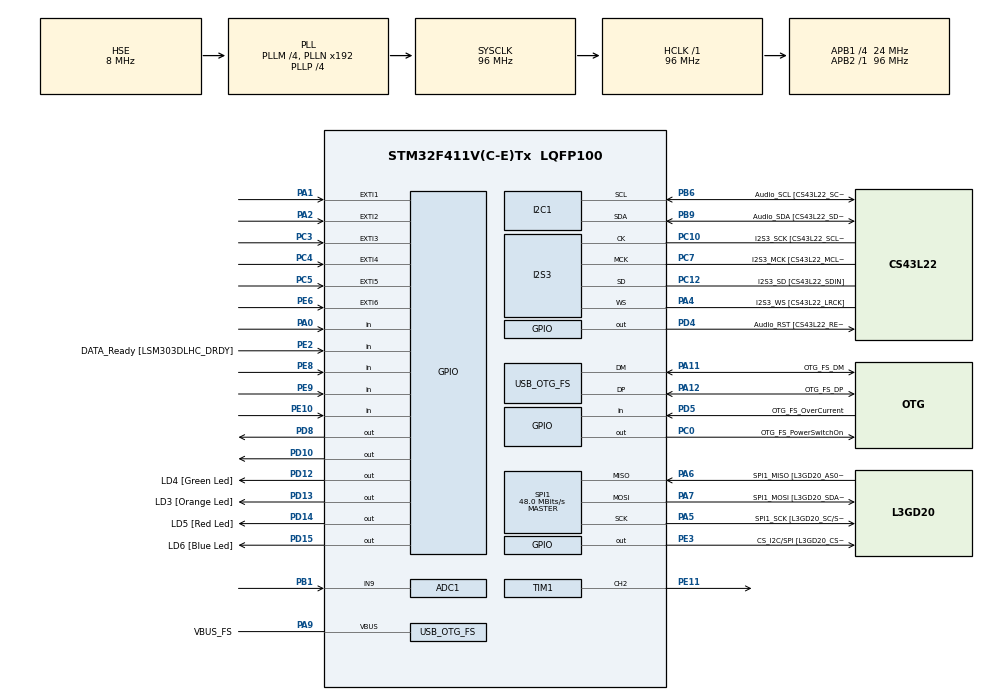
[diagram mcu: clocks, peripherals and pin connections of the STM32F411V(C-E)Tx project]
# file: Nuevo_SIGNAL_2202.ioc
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ADC1.Channel-0\#ChannelRegularConversion=ADC_CHANNEL_9
ADC1.ContinuousConvMode=ENABLE
ADC1.EOCSelection=ADC_EOC_SEQ_CONV
ADC1.NbrOfConversion=1
ADC1.NbrOfConversionFlag=1
ADC1.Rank-0\#ChannelRegularConversion=1
ADC1.Resolution=ADC_RESOLUTION_8B
ADC1.SamplingTime-0\#ChannelRegularConversion=ADC_SAMPLETIME_3CYCLES
ADC1.ScanConvMode=DISABLE
ADC1.master=1
I2S3.AudioFreq=I2S_AUDIOFREQ_96K
I2S3.ErrorAudioFreq=-6.99 %
I2S3.FullDuplexMode=I2S_FULLDUPLEXMODE_DISABLE
I2S3.Instance=SPI$Index
I2S3.RealAudioFreq=89.285 KHz
I2S3.VirtualMode=I2S_MODE_MASTER
Mcu.Family=STM32F4
Mcu.Name=STM32F411V(C-E)Tx
Mcu.Package=LQFP100
NVIC.ADC_IRQn=true\:0\:0\:false\:false\:true\:true\:true
NVIC.EXTI1_IRQn=true\:0\:0\:false\:false\:true\:true\:true
NVIC.EXTI2_IRQn=true\:0\:0\:false\:false\:true\:true\:true
NVIC.EXTI3_IRQn=true\:0\:0\:false\:false\:true\:true\:true
NVIC.EXTI4_IRQn=true\:0\:0\:false\:false\:true\:true\:true
NVIC.EXTI9_5_IRQn=true\:0\:0\:false\:false\:true\:true\:true
NVIC.OTG_FS_IRQn=true\:0\:0\:false\:false\:true\:true\:true
NVIC.PriorityGroup=NVIC_PRIORITYGROUP_0
PA0-WKUP.Signal=GPIO_Input
PA1.GPIO_ModeDefaultEXTI=GPIO_MODE_IT_RISING_FALLING
PA1.GPIO_PuPd=GPIO_PULLDOWN
PA1.Signal=GPXTI1
PA10.GPIO_Label=OTG_FS_ID
PA10.Signal=USB_OTG_FS_ID
PA11.GPIO_Label=OTG_FS_DM
PA11.Mode=Host_Only
PA11.Signal=USB_OTG_FS_DM
PA12.GPIO_Label=OTG_FS_DP
PA12.Mode=Host_Only
PA12.Signal=USB_OTG_FS_DP
PA13.GPIO_Label=SWDIO
PA13.Mode=Serial_Wire
PA13.Signal=SYS_JTMS-SWDIO
PA14.GPIO_Label=SWCLK
PA14.Mode=Serial_Wire
PA14.Signal=SYS_JTCK-SWCLK
PA2.GPIO_PuPd=GPIO_PULLDOWN
PA2.Signal=GPXTI2
PA4.GPIO_Label=I2S3_WS [CS43L22_LRCK]
PA4.GPIO_Mode=GPIO_MODE_AF_PP
PA4.GPIO_PuPd=GPIO_NOPULL
PA4.GPIO_Speed=GPIO_SPEED_FREQ_LOW
PA4.Mode=Half_Duplex_Master
PA4.Signal=I2S3_WS
PA5.GPIO_Label=SPI1_SCK [L3GD20_SC/SPC]
PA5.Mode=Full_Duplex_Master
PA5.Signal=SPI1_SCK
PA6.GPIO_Label=SPI1_MISO [L3GD20_AS0/SDO]
PA6.Mode=Full_Duplex_Master
PA6.Signal=SPI1_MISO
PA7.GPIO_Label=SPI1_MOSI [L3GD20_SDA/SDI/SDO]
PA7.Mode=Full_Duplex_Master
PA7.Signal=SPI1_MOSI
PA9.GPIO_Label=VBUS_FS
PA9.Mode=Activate_VBUS
PA9.Signal=USB_OTG_FS_VBUS
PB0.Signal=TIM1_CH2N
PB1.Signal=ADCx_IN9
PB10.GPIO_Label=CLK_IN [MP45DT02_CLK]
PB10.Signal=I2S2_CK
PB12.Signal=I2S2_WS
PB3.GPIO_Label=SWO
PB3.Signal=SYS_JTDO-SWO
PB6.GPIO_Label=Audio_SCL [CS43L22_SCL]
PB6.GPIO_Mode=GPIO_MODE_AF_OD
PB6.GPIO_PuPd=GPIO_NOPULL
PB6.GPIO_Speed=GPIO_SPEED_FREQ_LOW
PB6.Mode=I2C
PB6.Signal=I2C1_SCL
PB9.GPIO_Label=Audio_SDA [CS43L22_SDA]
PB9.GPIO_Mode=GPIO_MODE_AF_OD
PB9.GPIO_PuPd=GPIO_NOPULL
PB9.GPIO_Speed=GPIO_SPEED_FREQ_LOW
PB9.Mode=I2C
PB9.Signal=I2C1_SDA
PC0.GPIO_Label=OTG_FS_PowerSwitchOn
PC0.PinState=GPIO_PIN_SET
PC0.Signal=GPIO_Output
PC10.GPIO_Label=I2S3_SCK [CS43L22_SCLK]
PC10.GPIO_Mode=GPIO_MODE_AF_PP
PC10.GPIO_PuPd=GPIO_NOPULL
PC10.GPIO_Speed=GPIO_SPEED_FREQ_LOW
PC10.Mode=Half_Duplex_Master
PC10.Signal=I2S3_CK
PC12.GPIO_Label=I2S3_SD [CS43L22_SDIN]
PC12.GPIO_Mode=GPIO_MODE_AF_PP
PC12.GPIO_PuPd=GPIO_NOPULL
PC12.GPIO_Speed=GPIO_SPEED_FREQ_LOW
PC12.Mode=Half_Duplex_Master
PC12.Signal=I2S3_SD
PC14-OSC32_IN.GPIO_Label=PC14-OSC32_IN
PC14-OSC32_IN.Mode=LSE-External-Oscillator
PC14-OSC32_IN.Signal=RCC_OSC32_IN
PC15-OSC32_OUT.GPIO_Label=PC15-OSC32_OUT
PC15-OSC32_OUT.Mode=LSE-External-Oscillator
PC15-OSC32_OUT.Signal=RCC_OSC32_OUT
PC3.GPIO_PuPd=GPIO_PULLDOWN
PC3.Signal=GPXTI3
PC4.GPIO_PuPd=GPIO_PULLDOWN
PC4.Signal=GPXTI4
PC5.GPIO_PuPd=GPIO_PULLDOWN
PC5.Signal=GPXTI5
PC7.GPIO_Label=I2S3_MCK [CS43L22_MCLK]
PC7.GPIO_Mode=GPIO_MODE_AF_PP
PC7.GPIO_PuPd=GPIO_NOPULL
PC7.GPIO_Speed=GPIO_SPEED_FREQ_LOW
PC7.Mode=Master_Clock_Activated
PC7.Signal=I2S3_MCK
PD10.Signal=GPIO_Output
PD12.GPIO_Label=LD4 [Green Led]
PD12.GPIO_PuPd=GPIO_NOPULL
PD12.GPIO_Speed=GPIO_SPEED_FREQ_LOW
PD12.Signal=GPIO_Output
PD13.GPIO_Label=LD3 [Orange Led]
PD13.GPIO_PuPd=GPIO_NOPULL
PD13.GPIO_Speed=GPIO_SPEED_FREQ_LOW
PD13.Signal=GPIO_Output
PD14.GPIO_Label=LD5 [Red Led]
PD14.GPIO_PuPd=GPIO_NOPULL
PD14.GPIO_Speed=GPIO_SPEED_FREQ_LOW
PD14.Signal=GPIO_Output
PD15.GPIO_Label=LD6 [Blue Led]
PD15.GPIO_PuPd=GPIO_NOPULL
PD15.GPIO_Speed=GPIO_SPEED_FREQ_LOW
PD15.Signal=GPIO_Output
PD4.GPIO_Label=Audio_RST [CS43L22_RESET]
PD4.Signal=GPIO_Output
PD5.GPIO_Label=OTG_FS_OverCurrent
PD5.Signal=GPIO_Input
PD8.Signal=GPIO_Output
PE10.GPIO_PuPd=GPIO_PULLDOWN
PE10.Signal=GPIO_Input
PE11.Signal=S_TIM1_CH2
PE2.GPIO_Label=DATA_Ready [LSM303DLHC_DRDY]
PE2.Signal=GPIO_Input
PE3.GPIO_Label=CS_I2C/SPI [L3GD20_CS_I2C/SPI]
PE3.Signal=GPIO_Output
PE6.GPIO_PuPd=GPIO_PULLDOWN
PE6.Signal=GPXTI6
PE8.GPIO_PuPd=GPIO_PULLDOWN
PE8.Signal=GPIO_Input
PE9.GPIO_PuPd=GPIO_PULLDOWN
PE9.Signal=GPIO_Input
PH0\ -\ OSC_IN.GPIO_Label=PH0-OSC_IN
PH0\ -\ OSC_IN.Mode=HSE-External-Clock-Source
PH0\ -\ OSC_IN.Signal=RCC_OSC_IN
PH1\ -\ OSC_OUT.GPIO_Label=PH1-OSC_OUT
PH1\ -\ OSC_OUT.Mode=HSE-External-Clock-Source
PH1\ -\ OSC_OUT.Signal=RCC_OSC_OUT
ProjectManager.HeapSize=0x200
ProjectManager.StackSize=0x400
ProjectManager.TargetToolchain=MDK-ARM V5.27
RCC.48MHZClocksFreq_Value=48000000
RCC.AHBFreq_Value=96000000
RCC.APB1CLKDivider=RCC_HCLK_DIV4
RCC.APB1Freq_Value=24000000
RCC.APB1TimFreq_Value=48000000
RCC.APB2Freq_Value=96000000
RCC.APB2TimFreq_Value=96000000
RCC.CortexFreq_Value=96000000
RCC.HCLKFreq_Value=96000000
RCC.HSE_VALUE=8000000
RCC.HSI_VALUE=16000000
RCC.PLLI2SM=5
RCC.PLLI2SN=200
RCC.PLLM=4
RCC.PLLP=RCC_PLLP_DIV4
RCC.PLLQ=8
RCC.SYSCLKFreq_VALUE=96000000
RCC.SYSCLKSource=RCC_SYSCLKSOURCE_PLLCLK
RCC.VCOOutputFreq_Value=384000000
SH.ADCx_IN9.0=ADC1_IN9,IN9
SH.S_TIM1_CH2.0=TIM1_CH2,PWM Generation2 CH2
SPI1.BaudRatePrescaler=SPI_BAUDRATEPRESCALER_2
SPI1.CalculateBaudRate=48.0 MBits/s
SPI1.Direction=SPI_DIRECTION_2LINES
SPI1.Mode=SPI_MODE_MASTER
SPI1.VirtualType=VM_MASTER
TIM1.Channel-PWM\ Generation2\ CH2=TIM_CHANNEL_2
TIM1.Period=199
TIM1.Prescaler=47
USB_HOST.BSP.number=1
USB_HOST.USBH_HandleTypeDef=hUsbHostFS
USB_HOST.VirtualModeFS=Cdc
USB_HOST0.BSP.STBoard=false
USB_HOST0.BSP.api=Unknown
USB_HOST0.BSP.i2caddr=0
USB_HOST0.BSP.i2creg=0
USB_HOST0.BSP.instance=PC0
USB_HOST0.BSP.ip=GPIO
USB_HOST0.BSP.mode=Output
USB_HOST0.BSP.name=Drive_VBUS_FS
USB_HOST0.BSP.solution=PC0
USB_OTG_FS.VirtualMode=Host_Only
USB_OTG_FS.phy_itface=HCD_PHY_EMBEDDED
VP_USB_HOST_VS_USB_HOST_CDC_FS.Mode=CDC_FS
board=STM32F411E-DISCO

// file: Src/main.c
/* USER CODE BEGIN Header */
/**
  ******************************************************************************
  * @file           : main.c
  * @brief          : Main program body
  ******************************************************************************
  * @attention
  *
  * <h2><center>&copy; Copyright (c) 2020 STMicroelectronics.
  * All rights reserved.</center></h2>
  *
  * This software component is licensed by ST under Ultimate Liberty license
  * SLA0044, the "License"; You may not use this file except in compliance with
  * the License. You may obtain a copy of the License at:
  *                             www.st.com/SLA0044
  *
  ******************************************************************************
  */
/* USER CODE END Header */

#include "main.h"
#include "usb_host.h"

/* USER CODE BEGIN PTD */
typedef struct{
	int Derecha;
	int Izquierda;
	int Vel;
}Accion;
/* USER CODE END PTD */

/* USER CODE BEGIN PD */
#define Nbanderas 10

void ModoManual( int *EtapasManual, int Flags[],Accion*accion);
void ModoAutomatico( int *EtapasAutomatico, int Flags[],Accion*accion, int valor);
void GMM(int*GMM_Etapas, int*EtapasManual,int*EtapasAutomatico, int Flags[], int MaxBanderas, uint32_t* T_Alarm);
void Marcha(int GMM_Etapas, Accion Automatico, Accion Manual);
//void Marcha(int EtapasManual, int EtapasAutomático
/* USER CODE END PD */

ADC_HandleTypeDef hadc1;

I2C_HandleTypeDef hi2c1;

I2S_HandleTypeDef hi2s3;

SPI_HandleTypeDef hspi1;

TIM_HandleTypeDef htim1;

//ADC_HandleTypeDef hadc1;

void SystemClock_Config(void);
static void MX_GPIO_Init(void);
static void MX_I2C1_Init(void);
static void MX_I2S3_Init(void);
static void MX_SPI1_Init(void);
static void MX_TIM1_Init(void);
static void MX_ADC1_Init(void);
void MX_USB_HOST_Process(void);

/* USER CODE BEGIN 0 */

uint32_t EntradaAnalogica;

int EtapasAuto=0;
int EtapasMan=0;
int EtapasGMM=0;
int Bandera[10];
Accion ManualAct,AutomaticAct={0,0,150};
uint32_t Alarma;

/*
Banderas:
0-> Cambio Auto/Man
1-> Pulsador 1
2-> Pulsador 2
3-> Pulsador 3
4-> Pulsador 4
5-> Pulsador 5
*/

//////// CALLBACKS ////////////

void HAL_GPIO_EXTI_Callback(uint16_t GPIO_Pin){

	if(GPIO_Pin==GPIO_PIN_1){
		//selector auto/manual-> PA1

		Bandera[0]=1; //Hay cambio auto/man

	}else if(GPIO_Pin==GPIO_PIN_2){
		//selector Pulsador1-> PA2
		Bandera[1]=1;

	}else if(GPIO_Pin==GPIO_PIN_3){
		//selector Pulsador2-> PC3
		Bandera[2]=1;

	}else if(GPIO_Pin==GPIO_PIN_4){
		//selector Pulsador3-> PC4
		Bandera[3]=1;

	}else if(GPIO_Pin==GPIO_PIN_5){
		//selector Pulsador4-> PC5
		Bandera[4]=1;

	}else if(GPIO_Pin==GPIO_PIN_6){
		//selector Pulsador5-> PE6
		Bandera[5]=1;
	}else{
			HAL_GPIO_TogglePin(GPIOD, GPIO_PIN_13);
	}
}

void HAL_ADC_ConvCpltCallback(ADC_HandleTypeDef* hadc)
{
	if(hadc->Instance==ADC1){
		EntradaAnalogica= HAL_ADC_GetValue(&hadc1);
	}
}
/* USER CODE END 0 */

////////    MAIN    ////////////
int main(void)
{

  /* MCU Configuration--------------------------------------------------------*/

  /* Reset of all peripherals, Initializes the Flash interface and the Systick. */
  HAL_Init();
  /* Configure the system clock */
  SystemClock_Config();
  /* Initialize all configured peripherals */
  MX_GPIO_Init();
  MX_I2C1_Init();
  MX_I2S3_Init();
  MX_SPI1_Init();
  MX_TIM1_Init();
  MX_USB_HOST_Init();
  MX_ADC1_Init();

  /* USER CODE BEGIN 2 */

	/* Inicializamos la lectura de la entrada analógica */
	HAL_ADC_Start_IT(&hadc1);
	/* Inicializamos y damos el valor por defecto a la salida PWM */
	HAL_TIM_PWM_Start(&htim1, TIM_CHANNEL_2);
	__HAL_TIM_SET_COMPARE(&htim1,TIM_CHANNEL_2,159);

	/*Establecemos la Etapa del GMM actual en función de la posición del selector de dos posiciones */
	if(HAL_GPIO_ReadPin(GPIOA,GPIO_PIN_1)){
		// MODO AUTOMATICO
			EtapasGMM=1;
	}else{
		// MODO MANUAL
			EtapasGMM=0;
	}

  /* USER CODE END 2 */

///////      WHILE(1)       ////////

  while (1)
  {
    MX_USB_HOST_Process();

    /* USER CODE BEGIN 3 */

	// Llamada a la función encargada de la gestión de Modos de Marcha
	GMM(&EtapasGMM,&EtapasMan,&EtapasAuto,Bandera,Nbanderas,&Alarma);

	//Llamada a las funciones de gestión de modo Automático y Manual en función del GMM
	if(EtapasGMM==1){
		ModoAutomatico(&EtapasAuto,Bandera,&AutomaticAct,EntradaAnalogica);

	}else if(EtapasGMM==0){
		ModoManual(&EtapasMan, Bandera, &ManualAct);
	}

	//Llamada a la Funcion encargada de mover el motor
	Marcha(EtapasGMM,AutomaticAct,ManualAct);

	if(HAL_GPIO_ReadPin(GPIOE, GPIO_PIN_9)){
	HAL_GPIO_TogglePin(GPIOD,GPIO_PIN_12);
	}
	}
  /* USER CODE END 3 */
}

void SystemClock_Config(void)
{
  RCC_OscInitTypeDef RCC_OscInitStruct = {0};
  RCC_ClkInitTypeDef RCC_ClkInitStruct = {0};
  RCC_PeriphCLKInitTypeDef PeriphClkInitStruct = {0};

  /** Configure the main internal regulator output voltage
  */
  __HAL_RCC_PWR_CLK_ENABLE();
  __HAL_PWR_VOLTAGESCALING_CONFIG(PWR_REGULATOR_VOLTAGE_SCALE1);
  /** Initializes the CPU, AHB and APB busses clocks
  */
  RCC_OscInitStruct.OscillatorType = RCC_OSCILLATORTYPE_HSE;
  RCC_OscInitStruct.HSEState = RCC_HSE_BYPASS;
  RCC_OscInitStruct.PLL.PLLState = RCC_PLL_ON;
  RCC_OscInitStruct.PLL.PLLSource = RCC_PLLSOURCE_HSE;
  RCC_OscInitStruct.PLL.PLLM = 4;
  RCC_OscInitStruct.PLL.PLLN = 192;
  RCC_OscInitStruct.PLL.PLLP = RCC_PLLP_DIV4;
  RCC_OscInitStruct.PLL.PLLQ = 8;
  if (HAL_RCC_OscConfig(&RCC_OscInitStruct) != HAL_OK)
  {
    Error_Handler();
  }
  /** Initializes the CPU, AHB and APB busses clocks
  */
  RCC_ClkInitStruct.ClockType = RCC_CLOCKTYPE_HCLK|RCC_CLOCKTYPE_SYSCLK
                              |RCC_CLOCKTYPE_PCLK1|RCC_CLOCKTYPE_PCLK2;
  RCC_ClkInitStruct.SYSCLKSource = RCC_SYSCLKSOURCE_PLLCLK;
  RCC_ClkInitStruct.AHBCLKDivider = RCC_SYSCLK_DIV1;
  RCC_ClkInitStruct.APB1CLKDivider = RCC_HCLK_DIV4;
  RCC_ClkInitStruct.APB2CLKDivider = RCC_HCLK_DIV1;

  if (HAL_RCC_ClockConfig(&RCC_ClkInitStruct, FLASH_LATENCY_3) != HAL_OK)
  {
    Error_Handler();
  }
  PeriphClkInitStruct.PeriphClockSelection = RCC_PERIPHCLK_I2S;
  PeriphClkInitStruct.PLLI2S.PLLI2SN = 200;
  PeriphClkInitStruct.PLLI2S.PLLI2SM = 5;
  PeriphClkInitStruct.PLLI2S.PLLI2SR = 2;
  if (HAL_RCCEx_PeriphCLKConfig(&PeriphClkInitStruct) != HAL_OK)
  {
    Error_Handler();
  }
}

static void MX_ADC1_Init(void)
{

  ADC_ChannelConfTypeDef sConfig = {0};

  /** Configure the global features of the ADC (Clock, Resolution, Data Alignment and number of conversion)
  */
  hadc1.Instance = ADC1;
  hadc1.Init.ClockPrescaler = ADC_CLOCK_SYNC_PCLK_DIV4;
  hadc1.Init.Resolution = ADC_RESOLUTION_8B;
  hadc1.Init.ScanConvMode = DISABLE;
  hadc1.Init.ContinuousConvMode = ENABLE;
  hadc1.Init.DiscontinuousConvMode = DISABLE;
  hadc1.Init.ExternalTrigConvEdge = ADC_EXTERNALTRIGCONVEDGE_NONE;
  hadc1.Init.ExternalTrigConv = ADC_SOFTWARE_START;
  hadc1.Init.DataAlign = ADC_DATAALIGN_RIGHT;
  hadc1.Init.NbrOfConversion = 1;
  hadc1.Init.DMAContinuousRequests = DISABLE;
  hadc1.Init.EOCSelection = ADC_EOC_SEQ_CONV;
  if (HAL_ADC_Init(&hadc1) != HAL_OK)
  {
    Error_Handler();
  }
  /** Configure for the selected ADC regular channel its corresponding rank in the sequencer and its sample time.
  */
  sConfig.Channel = ADC_CHANNEL_9;
  sConfig.Rank = 1;
  sConfig.SamplingTime = ADC_SAMPLETIME_3CYCLES;
  if (HAL_ADC_ConfigChannel(&hadc1, &sConfig) != HAL_OK)
  {
    Error_Handler();
  }

}

static void MX_I2C1_Init(void)
{

  hi2c1.Instance = I2C1;
  hi2c1.Init.ClockSpeed = 100000;
  hi2c1.Init.DutyCycle = I2C_DUTYCYCLE_2;
  hi2c1.Init.OwnAddress1 = 0;
  hi2c1.Init.AddressingMode = I2C_ADDRESSINGMODE_7BIT;
  hi2c1.Init.DualAddressMode = I2C_DUALADDRESS_DISABLE;
  hi2c1.Init.OwnAddress2 = 0;
  hi2c1.Init.GeneralCallMode = I2C_GENERALCALL_DISABLE;
  hi2c1.Init.NoStretchMode = I2C_NOSTRETCH_DISABLE;
  if (HAL_I2C_Init(&hi2c1) != HAL_OK)
  {
    Error_Handler();
  }

}

static void MX_I2S3_Init(void)
{

  hi2s3.Instance = SPI3;
  hi2s3.Init.Mode = I2S_MODE_MASTER_TX;
  hi2s3.Init.Standard = I2S_STANDARD_PHILIPS;
  hi2s3.Init.DataFormat = I2S_DATAFORMAT_16B;
  hi2s3.Init.MCLKOutput = I2S_MCLKOUTPUT_ENABLE;
  hi2s3.Init.AudioFreq = I2S_AUDIOFREQ_96K;
  hi2s3.Init.CPOL = I2S_CPOL_LOW;
  hi2s3.Init.ClockSource = I2S_CLOCK_PLL;
  hi2s3.Init.FullDuplexMode = I2S_FULLDUPLEXMODE_DISABLE;
  if (HAL_I2S_Init(&hi2s3) != HAL_OK)
  {
    Error_Handler();
  }

}

static void MX_SPI1_Init(void)
{

  /* SPI1 parameter configuration*/
  hspi1.Instance = SPI1;
  hspi1.Init.Mode = SPI_MODE_MASTER;
  hspi1.Init.Direction = SPI_DIRECTION_2LINES;
  hspi1.Init.DataSize = SPI_DATASIZE_8BIT;
  hspi1.Init.CLKPolarity = SPI_POLARITY_LOW;
  hspi1.Init.CLKPhase = SPI_PHASE_1EDGE;
  hspi1.Init.NSS = SPI_NSS_SOFT;
  hspi1.Init.BaudRatePrescaler = SPI_BAUDRATEPRESCALER_2;
  hspi1.Init.FirstBit = SPI_FIRSTBIT_MSB;
  hspi1.Init.TIMode = SPI_TIMODE_DISABLE;
  hspi1.Init.CRCCalculation = SPI_CRCCALCULATION_DISABLE;
  hspi1.Init.CRCPolynomial = 10;
  if (HAL_SPI_Init(&hspi1) != HAL_OK)
  {
    Error_Handler();
  }

}

static void MX_TIM1_Init(void)
{

  TIM_MasterConfigTypeDef sMasterConfig = {0};
  TIM_OC_InitTypeDef sConfigOC = {0};
  TIM_BreakDeadTimeConfigTypeDef sBreakDeadTimeConfig = {0};

  htim1.Instance = TIM1;
  htim1.Init.Prescaler = 47;
  htim1.Init.CounterMode = TIM_COUNTERMODE_UP;
  htim1.Init.Period = 199;
  htim1.Init.ClockDivision = TIM_CLOCKDIVISION_DIV1;
  htim1.Init.RepetitionCounter = 0;
  htim1.Init.AutoReloadPreload = TIM_AUTORELOAD_PRELOAD_DISABLE;
  if (HAL_TIM_PWM_Init(&htim1) != HAL_OK)
  {
    Error_Handler();
  }
  sMasterConfig.MasterOutputTrigger = TIM_TRGO_RESET;
  sMasterConfig.MasterSlaveMode = TIM_MASTERSLAVEMODE_DISABLE;
  if (HAL_TIMEx_MasterConfigSynchronization(&htim1, &sMasterConfig) != HAL_OK)
  {
    Error_Handler();
  }
  sConfigOC.OCMode = TIM_OCMODE_PWM1;
  sConfigOC.Pulse = 0;
  sConfigOC.OCPolarity = TIM_OCPOLARITY_HIGH;
  sConfigOC.OCNPolarity = TIM_OCNPOLARITY_HIGH;
  sConfigOC.OCFastMode = TIM_OCFAST_DISABLE;
  sConfigOC.OCIdleState = TIM_OCIDLESTATE_RESET;
  sConfigOC.OCNIdleState = TIM_OCNIDLESTATE_RESET;
  if (HAL_TIM_PWM_ConfigChannel(&htim1, &sConfigOC, TIM_CHANNEL_2) != HAL_OK)
  {
    Error_Handler();
  }
  sBreakDeadTimeConfig.OffStateRunMode = TIM_OSSR_DISABLE;
  sBreakDeadTimeConfig.OffStateIDLEMode = TIM_OSSI_DISABLE;
  sBreakDeadTimeConfig.LockLevel = TIM_LOCKLEVEL_OFF;
  sBreakDeadTimeConfig.DeadTime = 0;
  sBreakDeadTimeConfig.BreakState = TIM_BREAK_DISABLE;
  sBreakDeadTimeConfig.BreakPolarity = TIM_BREAKPOLARITY_HIGH;
  sBreakDeadTimeConfig.AutomaticOutput = TIM_AUTOMATICOUTPUT_DISABLE;
  if (HAL_TIMEx_ConfigBreakDeadTime(&htim1, &sBreakDeadTimeConfig) != HAL_OK)
  {
    Error_Handler();
  }
  HAL_TIM_MspPostInit(&htim1);

}

static void MX_GPIO_Init(void)
{
  GPIO_InitTypeDef GPIO_InitStruct = {0};

  /* GPIO Ports Clock Enable */
  __HAL_RCC_GPIOE_CLK_ENABLE();
  __HAL_RCC_GPIOC_CLK_ENABLE();
  __HAL_RCC_GPIOH_CLK_ENABLE();
  __HAL_RCC_GPIOA_CLK_ENABLE();
  __HAL_RCC_GPIOB_CLK_ENABLE();
  __HAL_RCC_GPIOD_CLK_ENABLE();

  /*Configure GPIO pin Output Level */
  HAL_GPIO_WritePin(CS_I2C_SPI_GPIO_Port, CS_I2C_SPI_Pin, GPIO_PIN_RESET);

  /*Configure GPIO pin Output Level */
  HAL_GPIO_WritePin(OTG_FS_PowerSwitchOn_GPIO_Port, OTG_FS_PowerSwitchOn_Pin, GPIO_PIN_SET);

  /*Configure GPIO pin Output Level */
  HAL_GPIO_WritePin(GPIOD, GPIO_PIN_8|GPIO_PIN_10|LD4_Pin|LD3_Pin
                          |LD5_Pin|LD6_Pin|Audio_RST_Pin, GPIO_PIN_RESET);

  /*Configure GPIO pin : DATA_Ready_Pin */
  GPIO_InitStruct.Pin = DATA_Ready_Pin;
  GPIO_InitStruct.Mode = GPIO_MODE_INPUT;
  GPIO_InitStruct.Pull = GPIO_NOPULL;
  HAL_GPIO_Init(DATA_Ready_GPIO_Port, &GPIO_InitStruct);

  /*Configure GPIO pin : CS_I2C_SPI_Pin */
  GPIO_InitStruct.Pin = CS_I2C_SPI_Pin;
  GPIO_InitStruct.Mode = GPIO_MODE_OUTPUT_PP;
  GPIO_InitStruct.Pull = GPIO_NOPULL;
  GPIO_InitStruct.Speed = GPIO_SPEED_FREQ_LOW;
  HAL_GPIO_Init(CS_I2C_SPI_GPIO_Port, &GPIO_InitStruct);

  /*Configure GPIO pin : PE6 */
  GPIO_InitStruct.Pin = GPIO_PIN_6;
  GPIO_InitStruct.Mode = GPIO_MODE_IT_RISING;
  GPIO_InitStruct.Pull = GPIO_PULLDOWN;
  HAL_GPIO_Init(GPIOE, &GPIO_InitStruct);

  /*Configure GPIO pin : OTG_FS_PowerSwitchOn_Pin */
  GPIO_InitStruct.Pin = OTG_FS_PowerSwitchOn_Pin;
  GPIO_InitStruct.Mode = GPIO_MODE_OUTPUT_PP;
  GPIO_InitStruct.Pull = GPIO_NOPULL;
  GPIO_InitStruct.Speed = GPIO_SPEED_FREQ_LOW;
  HAL_GPIO_Init(OTG_FS_PowerSwitchOn_GPIO_Port, &GPIO_InitStruct);

  /*Configure GPIO pins : PC3 PC4 PC5 */
  GPIO_InitStruct.Pin = GPIO_PIN_3|GPIO_PIN_4|GPIO_PIN_5;
  GPIO_InitStruct.Mode = GPIO_MODE_IT_RISING;
  GPIO_InitStruct.Pull = GPIO_PULLDOWN;
  HAL_GPIO_Init(GPIOC, &GPIO_InitStruct);

  /*Configure GPIO pin : PA0 */
  GPIO_InitStruct.Pin = GPIO_PIN_0;
  GPIO_InitStruct.Mode = GPIO_MODE_INPUT;
  GPIO_InitStruct.Pull = GPIO_NOPULL;
  HAL_GPIO_Init(GPIOA, &GPIO_InitStruct);

  /*Configure GPIO pin : PA1 */
  GPIO_InitStruct.Pin = GPIO_PIN_1;
  GPIO_InitStruct.Mode = GPIO_MODE_IT_RISING_FALLING;
  GPIO_InitStruct.Pull = GPIO_PULLDOWN;
  HAL_GPIO_Init(GPIOA, &GPIO_InitStruct);

  /*Configure GPIO pin : PA2 */
  GPIO_InitStruct.Pin = GPIO_PIN_2;
  GPIO_InitStruct.Mode = GPIO_MODE_IT_RISING;
  GPIO_InitStruct.Pull = GPIO_PULLDOWN;
  HAL_GPIO_Init(GPIOA, &GPIO_InitStruct);

  /*Configure GPIO pins : PE8 PE9 PE10 */
  GPIO_InitStruct.Pin = GPIO_PIN_8|GPIO_PIN_9|GPIO_PIN_10;
  GPIO_InitStruct.Mode = GPIO_MODE_INPUT;
  GPIO_InitStruct.Pull = GPIO_PULLDOWN;
  HAL_GPIO_Init(GPIOE, &GPIO_InitStruct);

  /*Configure GPIO pins : CLK_IN_Pin PB12 */
  GPIO_InitStruct.Pin = CLK_IN_Pin|GPIO_PIN_12;
  GPIO_InitStruct.Mode = GPIO_MODE_AF_PP;
  GPIO_InitStruct.Pull = GPIO_NOPULL;
  GPIO_InitStruct.Speed = GPIO_SPEED_FREQ_LOW;
  GPIO_InitStruct.Alternate = GPIO_AF5_SPI2;
  HAL_GPIO_Init(GPIOB, &GPIO_InitStruct);

  /*Configure GPIO pins : PD8 PD10 LD4_Pin LD3_Pin
                           LD5_Pin LD6_Pin Audio_RST_Pin */
  GPIO_InitStruct.Pin = GPIO_PIN_8|GPIO_PIN_10|LD4_Pin|LD3_Pin
                          |LD5_Pin|LD6_Pin|Audio_RST_Pin;
  GPIO_InitStruct.Mode = GPIO_MODE_OUTPUT_PP;
  GPIO_InitStruct.Pull = GPIO_NOPULL;
  GPIO_InitStruct.Speed = GPIO_SPEED_FREQ_LOW;
  HAL_GPIO_Init(GPIOD, &GPIO_InitStruct);

  /*Configure GPIO pin : OTG_FS_OverCurrent_Pin */
  GPIO_InitStruct.Pin = OTG_FS_OverCurrent_Pin;
  GPIO_InitStruct.Mode = GPIO_MODE_INPUT;
  GPIO_InitStruct.Pull = GPIO_NOPULL;
  HAL_GPIO_Init(OTG_FS_OverCurrent_GPIO_Port, &GPIO_InitStruct);

  /* EXTI interrupt init*/
  HAL_NVIC_SetPriority(EXTI1_IRQn, 0, 0);
  HAL_NVIC_EnableIRQ(EXTI1_IRQn);

  HAL_NVIC_SetPriority(EXTI2_IRQn, 0, 0);
  HAL_NVIC_EnableIRQ(EXTI2_IRQn);

  HAL_NVIC_SetPriority(EXTI3_IRQn, 0, 0);
  HAL_NVIC_EnableIRQ(EXTI3_IRQn);

  HAL_NVIC_SetPriority(EXTI4_IRQn, 0, 0);
  HAL_NVIC_EnableIRQ(EXTI4_IRQn);

  HAL_NVIC_SetPriority(EXTI9_5_IRQn, 0, 0);
  HAL_NVIC_EnableIRQ(EXTI9_5_IRQn);

}
/////////////////////////    FUNCIONES   //////////////////////////////////

/* USER CODE BEGIN 4 */

///////    GMMM      /////////

void GMM(int*GMM_Etapas, int*EtapasManual,int*EtapasAutomatico, int Band[], int MaxBanderas, uint32_t* T_Alarm){

if (Band[0]==1){
		HAL_Delay(120);    //Antirrebotes
		if(HAL_GPIO_ReadPin(GPIOA, GPIO_PIN_1)){
			//ACTIVACION MODO AUTOATICO Y LECTURA DE ENTRADA ANALOGICA
			*GMM_Etapas=1;
			HAL_ADC_Start_IT(&hadc1);
		}else{
			//ACTIVACION MODO MANUAL Y DESACTIVACION LECTURA ANALOGICA
			*GMM_Etapas=0;
			HAL_ADC_Stop_IT(&hadc1);
		}
		/*Cuando hay cambio de modo se reinicializan todas las banderas
		y se ponen a cero todas las etapas*/
		for(int i=0;i < MaxBanderas; i++){
				Band[i]=0;
		}
		*EtapasAutomatico=0;
		*EtapasManual=0;
  }
		//Activación MODO ALARMA en caso de que el carro no pueda llegar a su destino
			if((*EtapasManual==0&&*GMM_Etapas==0)||(*EtapasAutomatico==0&&*GMM_Etapas==1)){
			//Siempre que la estamos fuera de la etapa 0 en alguno de los dos modos, estas realizando una accion
			*T_Alarm=HAL_GetTick();
		}
			//Si no volvemos a la etapa 0 en menos de x tiempo, se activa el estado de alarma
		if((HAL_GetTick()- *T_Alarm)>4000){

			*EtapasAutomatico=0;
			*EtapasManual=0;
			*GMM_Etapas=3;
		}

//ILUMINACIÖN LEDS
	if (*GMM_Etapas==1){
		//En Auto encendemos luz Verde
		HAL_GPIO_WritePin(GPIOD, GPIO_PIN_12,GPIO_PIN_SET);
		HAL_GPIO_WritePin(GPIOD, GPIO_PIN_14,GPIO_PIN_RESET);
		HAL_GPIO_WritePin(GPIOD, GPIO_PIN_13,GPIO_PIN_RESET);
		HAL_GPIO_WritePin(GPIOD, GPIO_PIN_15,GPIO_PIN_RESET);

	}else if(*GMM_Etapas==0){
		//En Manual encendemos luz Azul
		HAL_GPIO_WritePin(GPIOD, GPIO_PIN_15,GPIO_PIN_SET);
		HAL_GPIO_WritePin(GPIOD, GPIO_PIN_14,GPIO_PIN_RESET);
		HAL_GPIO_WritePin(GPIOD, GPIO_PIN_13,GPIO_PIN_RESET);
		HAL_GPIO_WritePin(GPIOD, GPIO_PIN_12,GPIO_PIN_RESET);
	}
	else{
		//En alarma Parpadeamos luz Roja
		HAL_GPIO_TogglePin(GPIOD,GPIO_PIN_14);
		HAL_Delay(50);
	}

}

void ModoAutomatico( int *EtapasAutomatico, int Flags[],Accion*accion, int valor){
if(*EtapasAutomatico==0){
		if(valor <75&&!HAL_GPIO_ReadPin(GPIOE,GPIO_PIN_8)){
			*EtapasAutomatico = 1;
		}else if(valor>95&&valor<175&&!HAL_GPIO_ReadPin(GPIOE,GPIO_PIN_10)){
				HAL_Delay(500);
			if(!HAL_GPIO_ReadPin(GPIOE,GPIO_PIN_10)){
			*EtapasAutomatico=5;
			}
		}else if(valor>195&&!HAL_GPIO_ReadPin(GPIOE,GPIO_PIN_9)){
			*EtapasAutomatico=10;
		}
		if(Flags[4]==1){
		accion->Vel=accion->Vel-15;
			HAL_Delay(100);
			Flags[4]=0;
		}else if(Flags[5]==1){
		accion->Vel=accion->Vel+15;
			HAL_Delay(100);
			Flags[4]=0;
		}
//X1
	}else if(*EtapasAutomatico==1){
		if(HAL_GPIO_ReadPin(GPIOE, GPIO_PIN_8)){
			*EtapasAutomatico=0;
			}
//X5
	}else if(*EtapasAutomatico==5){
		if(HAL_GPIO_ReadPin(GPIOE, GPIO_PIN_10)){
				HAL_Delay(20);  //evitar fluctuaciones de la señal->provocaria etapa fugaz
				*EtapasAutomatico=6;
		}else if(HAL_GPIO_ReadPin(GPIOE, GPIO_PIN_9)){
				*EtapasAutomatico=8;
		}
//X6
	}else if(*EtapasAutomatico==6){
		 if(!HAL_GPIO_ReadPin(GPIOE, GPIO_PIN_10)){
					*EtapasAutomatico=8;
	 }
//X8
	}else if(*EtapasAutomatico==8){
		if(HAL_GPIO_ReadPin(GPIOE, GPIO_PIN_10)){
					*EtapasAutomatico=0;
		}
	}else if(*EtapasAutomatico==10){
		if(HAL_GPIO_ReadPin(GPIOE, GPIO_PIN_9)){
						*EtapasAutomatico=0;
		}
	}
	if(*EtapasAutomatico==1||*EtapasAutomatico==8){
			accion->Izquierda=1;
		  accion->Derecha=0;
			accion->Vel=140;
	}
	/*else if(*EtapasAutomatico==0 && HAL_GPIO_ReadPin(GPIOC, GPIO_PIN_5)&&!HAL_GPIO_ReadPin(GPIOE, GPIO_PIN_6)&&!HAL_GPIO_ReadPin(GPIOE,GPIO_PIN_8)){
			accion->Izquierda=1;
		  accion->Derecha=0;
			accion->Vel=99;
			//HAL_GPIO_WritePin(GPIOD, GPIO_PIN_10, GPIO_PIN_SET);
			//HAL_GPIO_WritePin(GPIOD, GPIO_PIN_8, GPIO_PIN_RESET);
		}*/
	else if(*EtapasAutomatico==5||*EtapasAutomatico==6||*EtapasAutomatico==10){
			accion->Izquierda=0;
		  accion->Derecha=1;
			accion->Vel=140;
		}
	/*else if(*EtapasAutomatico==0 && !HAL_GPIO_ReadPin(GPIOC, GPIO_PIN_5)&&HAL_GPIO_ReadPin(GPIOE, GPIO_PIN_6)&&!HAL_GPIO_ReadPin(GPIOE,GPIO_PIN_9)){
			accion->Izquierda=0;
		  accion->Derecha=1;
			accion->Vel=99;
			//HAL_GPIO_WritePin(GPIOD, GPIO_PIN_10, GPIO_PIN_RESET);
			//HAL_GPIO_WritePin(GPIOD, GPIO_PIN_8, GPIO_PIN_SET);
			//HAL_GPIO_WritePin(GPIOD, GPIO_PIN_14,GPIO_PIN_SET);
		}*/
		else{
			accion->Izquierda=0;
		  accion->Derecha=0;

			//HAL_GPIO_WritePin(GPIOD, GPIO_PIN_10, GPIO_PIN_RESET);
			//HAL_GPIO_WritePin(GPIOD, GPIO_PIN_8, GPIO_PIN_RESET);
		}

	return;

}

void ModoManual( int *EtapasManual, int Flags[], Accion* accion){

//X0
	if(*EtapasManual==0){
		if(Flags[1] == 1){
			*EtapasManual = 1;
			HAL_Delay(120);
			Flags[1]=0;
		}else if(Flags[2] == 1){
			*EtapasManual=5;
			HAL_Delay(200);
			Flags[2]=0;
		}else if(Flags[3] == 1){
			*EtapasManual=10;
			HAL_Delay(120);
			Flags[3]=0;
		}
//X1
	}else if(*EtapasManual==1){
		if(HAL_GPIO_ReadPin(GPIOE, GPIO_PIN_8)){
			*EtapasManual=0;
			}
//X5
	}else if(*EtapasManual==5){
		if(HAL_GPIO_ReadPin(GPIOE, GPIO_PIN_10)){
				HAL_Delay(20);  //evitar fluctuaciones de la señal->provocaria etapa fugaz
				*EtapasManual=6;
		}else if(HAL_GPIO_ReadPin(GPIOE, GPIO_PIN_9)){
				*EtapasManual=8;
		}
//X6
	}else if(*EtapasManual==6){
		 if(!HAL_GPIO_ReadPin(GPIOE, GPIO_PIN_10)){
					*EtapasManual=8;
	 }
//X8
	}else if(*EtapasManual==8){
		if(HAL_GPIO_ReadPin(GPIOE, GPIO_PIN_10)){
					*EtapasManual=0;
		}
	}else if(*EtapasManual==10){
		if(HAL_GPIO_ReadPin(GPIOE, GPIO_PIN_9)){
						*EtapasManual=0;
		}
	}
	if(*EtapasManual==1||*EtapasManual==8){
			accion->Izquierda=1;
		  accion->Derecha=0;
			accion->Vel=140;
	}else if(*EtapasManual==0 && HAL_GPIO_ReadPin(GPIOC, GPIO_PIN_5)&&!HAL_GPIO_ReadPin(GPIOE, GPIO_PIN_6)&&!HAL_GPIO_ReadPin(GPIOE,GPIO_PIN_8)){
			accion->Izquierda=1;
		  accion->Derecha=0;
			accion->Vel=99;
			//HAL_GPIO_WritePin(GPIOD, GPIO_PIN_10, GPIO_PIN_SET);
			//HAL_GPIO_WritePin(GPIOD, GPIO_PIN_8, GPIO_PIN_RESET);
		}else if(*EtapasManual==5||*EtapasManual==6||*EtapasManual==10){
			accion->Izquierda=0;
		  accion->Derecha=1;
			accion->Vel=140;
		}else if(*EtapasManual==0 && !HAL_GPIO_ReadPin(GPIOC, GPIO_PIN_5)&&HAL_GPIO_ReadPin(GPIOE, GPIO_PIN_6)&&!HAL_GPIO_ReadPin(GPIOE,GPIO_PIN_9)){
			accion->Izquierda=0;
		  accion->Derecha=1;
			accion->Vel=99;
			//HAL_GPIO_WritePin(GPIOD, GPIO_PIN_10, GPIO_PIN_RESET);
			//HAL_GPIO_WritePin(GPIOD, GPIO_PIN_8, GPIO_PIN_SET);
			//HAL_GPIO_WritePin(GPIOD, GPIO_PIN_14,GPIO_PIN_SET);
		}else{
			accion->Izquierda=0;
		  accion->Derecha=0;

			//HAL_GPIO_WritePin(GPIOD, GPIO_PIN_10, GPIO_PIN_RESET);
			//HAL_GPIO_WritePin(GPIOD, GPIO_PIN_8, GPIO_PIN_RESET);
		}

	return;
}

void Marcha(int GMM_Etapas, Accion Automatico, Accion Manual){
	if(GMM_Etapas==0){ //MANUAL
		if(Manual.Izquierda){
			__HAL_TIM_SET_COMPARE(&htim1,TIM_CHANNEL_2,Manual.Vel);
			HAL_GPIO_WritePin(GPIOD, GPIO_PIN_10, GPIO_PIN_SET);
			HAL_GPIO_WritePin(GPIOD, GPIO_PIN_8, GPIO_PIN_RESET);
			}else if(Manual.Derecha){
			__HAL_TIM_SET_COMPARE(&htim1,TIM_CHANNEL_2,Manual.Vel);
			HAL_GPIO_WritePin(GPIOD, GPIO_PIN_10, GPIO_PIN_RESET);
			HAL_GPIO_WritePin(GPIOD, GPIO_PIN_8, GPIO_PIN_SET);
			}else{
			HAL_GPIO_WritePin(GPIOD, GPIO_PIN_10, GPIO_PIN_RESET);
			HAL_GPIO_WritePin(GPIOD, GPIO_PIN_8, GPIO_PIN_RESET);
			}
	}else if(GMM_Etapas==1){ //AUTOMATICO
		if(Automatico.Izquierda){
			__HAL_TIM_SET_COMPARE(&htim1,TIM_CHANNEL_2,Automatico.Vel);
			HAL_GPIO_WritePin(GPIOD, GPIO_PIN_10, GPIO_PIN_SET);
			HAL_GPIO_WritePin(GPIOD, GPIO_PIN_8, GPIO_PIN_RESET);
			}else if(Automatico.Derecha){
			__HAL_TIM_SET_COMPARE(&htim1,TIM_CHANNEL_2,Automatico.Vel);
			HAL_GPIO_WritePin(GPIOD, GPIO_PIN_10, GPIO_PIN_RESET);
			HAL_GPIO_WritePin(GPIOD, GPIO_PIN_8, GPIO_PIN_SET);
			}else{
			HAL_GPIO_WritePin(GPIOD, GPIO_PIN_10, GPIO_PIN_RESET);
			HAL_GPIO_WritePin(GPIOD, GPIO_PIN_8, GPIO_PIN_RESET);
			}
	}else{
			__HAL_TIM_SET_COMPARE(&htim1,TIM_CHANNEL_2,0);
			HAL_GPIO_WritePin(GPIOD, GPIO_PIN_10, GPIO_PIN_RESET);
			HAL_GPIO_WritePin(GPIOD, GPIO_PIN_8, GPIO_PIN_RESET);
	}
}

/* USER CODE END 4 */

void Error_Handler(void)
{
}

/************************ (C) COPYRIGHT STMicroelectronics *****END OF FILE****/
